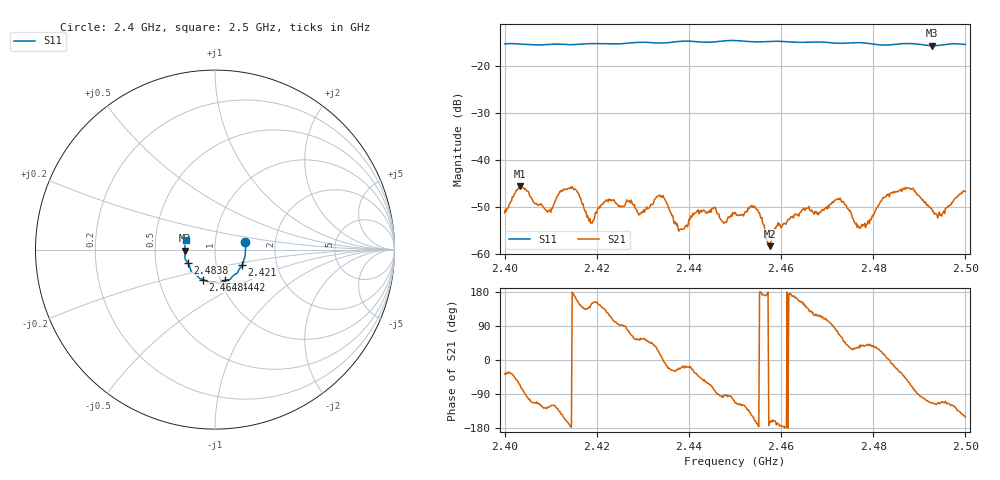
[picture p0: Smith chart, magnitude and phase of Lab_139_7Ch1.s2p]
# Hz S RI R 50
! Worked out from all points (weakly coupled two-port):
!   601 points, 2.4 GHz to 2.5 GHz, reference 50 ohm
!   highest |S21| = -45.53 dB at 2.4033 GHz (marker M1); lowest = -58.3 dB at 2.4575 GHz (marker M2)
!   lowest |S11| = -15.6 dB at 2.4928 GHz (marker M3), VSWR 1.40, Z = 35.8 - j0.379 ohm
!   |S11| at or under -10 dB: start of sweep to end of sweep
!   S12 and S22 are empty: the file has one direction only
!   S11 on the Smith chart (normalised r, x): 2.4 GHz: 1.40, +0.12; 2.421 GHz: 1.33, -0.24; 2.4442 GHz: 1.05, -0.37; 2.4648 GHz: 0.83, -0.29; 2.4838 GHz: 0.73, -0.11; 2.5 GHz: 0.72, +0.08
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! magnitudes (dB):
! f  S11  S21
! 2.4 GHz  -15.2  -51.2
! 2.4033 GHz  -15.3  -45.5
! 2.4095 GHz  -15.3  -50.8
! 2.4133 GHz  -15.4  -46.2
! 2.4167 GHz  -15.3  -48.8
! 2.4188 GHz  -15.2  -53.2
! 2.421 GHz  -15.2  -49.6
! 2.4295 GHz  -14.9  -51.3
! 2.4333 GHz  -15.0  -47.6
! 2.4382 GHz  -14.7  -54.6
! 2.4442 GHz  -14.9  -51.1
! 2.45 GHz  -14.5  -51.1
! 2.4545 GHz  -14.8  -50.3
! 2.4575 GHz  -14.7  -58.3
! 2.4648 GHz  -14.9  -50.4
! 2.4667 GHz  -14.8  -50.6
! 2.4725 GHz  -15.1  -48.2
! 2.4775 GHz  -15.0  -53.7
! 2.4833 GHz  -15.5  -47.2
! 2.4838 GHz  -15.4  -47.0
! 2.4928 GHz  -15.6  -50.8
! 2.5 GHz  -15.3  -46.7
